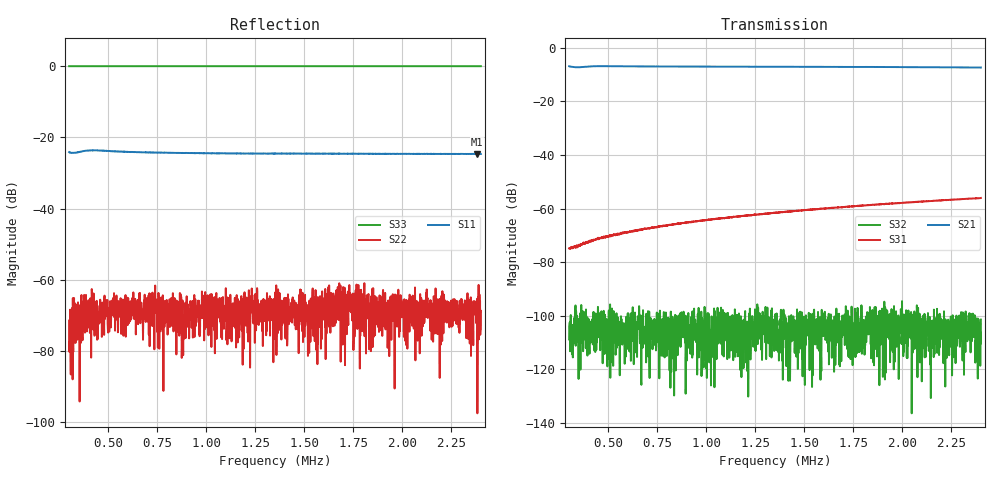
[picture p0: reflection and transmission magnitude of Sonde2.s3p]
#  HZ  S  DB  R  50.00
! Rohde & Schwarz Vector Network Analyzer
! Rohde-Schwarz,ZNB8-4Port,1311601044102961,2.82
! Created: UTC 10/29/2018, 2:23:15 PM
! freq[Hz]  db:S11  ang:S11  db:S12  ang:S12  db:S13  ang:S13
!  db:S21  ang:S21  db:S22  ang:S22  db:S23  ang:S23
!  db:S31  ang:S31  db:S32  ang:S32  db:S33  ang:S33
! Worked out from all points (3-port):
!   2001 points, 300 kHz to 2.4 MHz, reference 50 ohm
!   strongest paths, dB at 300 kHz, 825 kHz, 1.35 MHz, 1.875 MHz, 2.4 MHz:
!     S21: -6.9, -7.0, -7.1, -7.2, -7.4
!     S31: -74.9, -65.9, -61.6, -58.5, -56.1
!     S32: -108.8, -106.0, -107.0, -103.3, -101.4
!   lowest |S11| = -24.7 dB at 2.381 MHz (marker M1), VSWR 1.12, Z = 44.5 + j0.237 ohm
!   |S11| at or under -10 dB: start of sweep to end of sweep
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300000  -24.14 -139.4  -107.18 -170.1  -103.20 5.0
        -6.95 -111.9  -71.40 -7.0  -108.89 53.9
        -74.86 -25.2  -108.81 56.4  -0.00 -1.6
518400  -23.86 -152.5  -104.12 -68.6  -104.74 151.0
        -6.93 -144.7  -69.65 13.1  -106.56 -62.8
        -69.93 -56.9  -97.27 -133.6  -0.00 -2.9
861750  -24.35 -165.7  -99.88 118.8  -109.15 -69.5
        -7.06 -169.8  -75.65 -51.6  -115.57 57.0
        -65.51 -82.0  -103.15 24.7  0.00 -4.8
883800  -24.36 -166.1  -107.33 -87.2  -115.66 -51.5
        -7.06 -171.0  -74.09 -89.6  -101.33 -47.1
        -65.38 -83.0  -98.47 7.3  0.00 -4.9
977250  -24.43 -168.3  -105.62 166.1  -108.45 130.4
        -7.07 -175.4  -63.24 -16.3  -100.15 3.7
        -64.44 -87.7  -105.37 -52.5  -0.00 -5.5
1350000  -24.53 -173.8  -106.38 174.9  -110.81 90.7
         -7.14 170.5  -76.59 -20.0  -116.50 -134.5
         -61.59 -102.5  -106.97 -145.7  -0.00 -7.6
1673400  -24.57 -177.3  -102.60 -70.8  -100.69 -105.1
         -7.19 160.4  -71.23 -43.3  -99.14 15.0
         -59.57 -113.2  -107.41 23.5  -0.00 -9.4
1838250  -24.59 -179.0  -106.25 -162.9  -103.77 -80.7
         -7.20 155.7  -72.61 -74.3  -102.58 57.0
         -58.71 -118.3  -110.64 -145.5  -0.00 -10.3
2381100  -24.68 177.4  -111.18 -64.8  -109.06 28.0
         -7.42 141.2  -65.27 -53.7  -108.51 166.7
         -56.19 -134.1  -106.98 57.0  -0.00 -13.4
2400000  -24.64 177.1  -117.33 45.0  -106.00 61.7
         -7.42 140.7  -68.67 -97.0  -108.30 -151.8
         -56.06 -134.8  -101.40 156.4  0.00 -13.5
